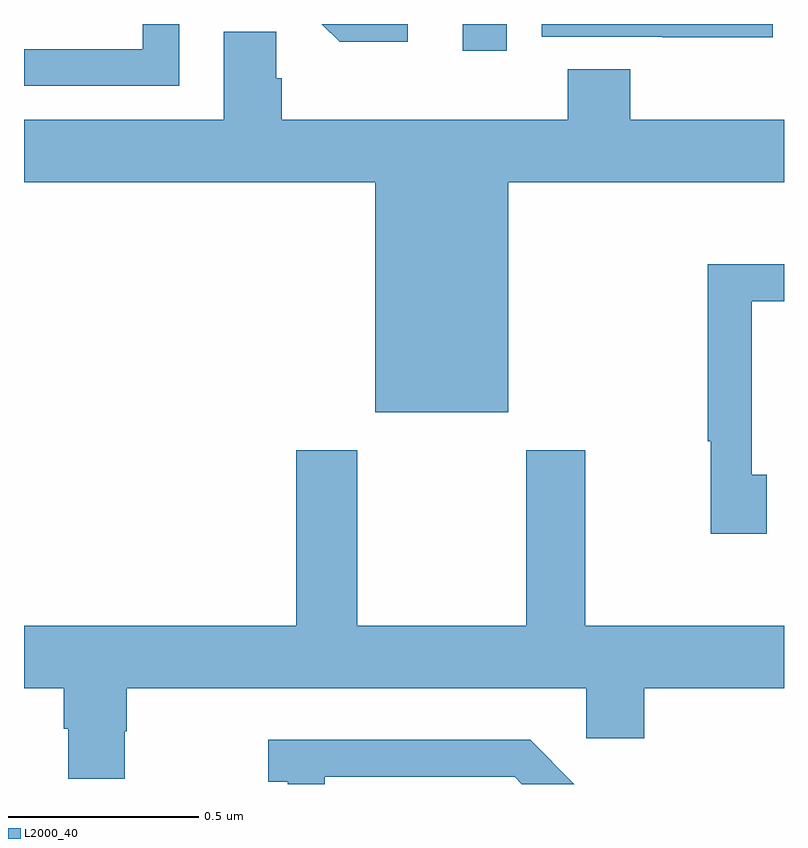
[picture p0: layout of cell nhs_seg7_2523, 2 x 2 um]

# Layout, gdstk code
import gdstk
lib = gdstk.Library(unit=1e-6, precision=1e-09)
def R(c, l, rs):  # rectangles x0, y0, x1, y1
    for r in rs: c.add(gdstk.rectangle(r[:2], r[2:], *l))
def P(c, l, *ps):  # polygons
    for p in ps: c.add(gdstk.Polygon(p, *l))
L2000_40 = (2000, 40)

nhs_seg7_2523 = lib.new_cell('nhs_seg7_2523')
R(nhs_seg7_2523, L2000_40, [(147.155,1032.93,147.27,1033)])
P(nhs_seg7_2523, L2000_40, [(147.01,1033),(146.784,1033),(146.831,1032.953),(147.01,1032.953)],
  [(146.409,1033),(146.313,1033),(146.313,1032.933),(146,1032.933),(146,1032.837),(146.409,1032.837)],
  [(147.971,1033),(147.363,1033),(147.363,1032.966),(147.679,1032.966),(147.679,1032.965),(147.971,1032.965)],
  [(147.274,1032.584),(148,1032.584),(148,1032.748),(147.596,1032.748),(147.596,1032.881),(147.431,1032.881),(147.431,1032.748),(146.678,1032.748),(146.678,1032.857),(146.664,1032.857),(146.664,1032.98),(146.525,1032.98),(146.525,1032.748),(146,1032.748),(146,1032.584),(146.924,1032.584),(146.924,1031.978),(147.274,1031.978)],
  [(147.955,1031.814),(147.915,1031.814),(147.915,1032.27),(148,1032.27),(148,1032.368),(147.799,1032.368),(147.799,1031.902),(147.807,1031.902),(147.807,1031.658),(147.955,1031.658)],
  [(146.265,1031.139),(146.27,1031.139),(146.27,1031.252),(147.48,1031.252),(147.48,1031.121),(147.632,1031.121),(147.632,1031.252),(148,1031.252),(148,1031.416),(147.477,1031.416),(147.477,1031.878),(147.322,1031.878),(147.322,1031.416),(146.877,1031.416),(146.877,1031.878),(146.717,1031.878),(146.717,1031.416),(146,1031.416),(146,1031.252),(146.105,1031.252),(146.105,1031.146),(146.117,1031.146),(146.117,1031.014),(146.265,1031.014)],
  [(146.791,1031.019),(147.291,1031.019),(147.31,1031),(147.448,1031),(147.332,1031.116),(146.643,1031.116),(146.643,1031.006),(146.694,1031.006),(146.694,1031),(146.791,1031)])

lib.write_gds('nhs_seg7_2523.gds')
